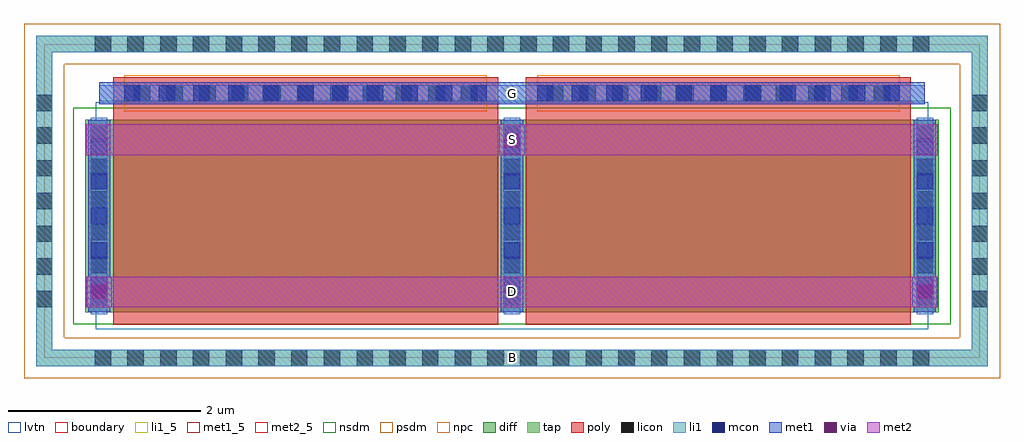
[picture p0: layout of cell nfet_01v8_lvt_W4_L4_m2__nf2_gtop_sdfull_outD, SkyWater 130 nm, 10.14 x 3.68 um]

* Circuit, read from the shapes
.subckt nfet_01v8_lvt_W4_L4_m2__nf2_gtop_sdfull_outD B D G S
XM1 S G D B sky130_fd_pr__nfet_01v8_lvt w=2 l=4 m=2
.ends

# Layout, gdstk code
import gdstk
lib = gdstk.Library(unit=1e-6, precision=1e-09)
def R(c, l, rs):  # rectangles x0, y0, x1, y1
    for r in rs: c.add(gdstk.rectangle(r[:2], r[2:], *l))
def A(c, l, x, y, w, h, nx, ny, dx, dy):  # array of equal rectangles
    R(c, l, [(x+i*dx, y+j*dy, x+i*dx+w, y+j*dy+h) for i in range(nx) for j in range(ny)])
diff = (65, 20)
tap = (65, 44)
poly = (66, 20)
licon = (66, 44)
li1_5 = (67, 5)
li1 = (67, 20)
mcon = (67, 44)
met1_5 = (68, 5)
met1 = (68, 20)
via = (68, 44)
met2_5 = (69, 5)
met2 = (69, 20)
nsdm = (93, 44)
psdm = (94, 20)
npc = (95, 20)
lvtn = (125, 44)
boundary = (235, 4)

sky130_fd_pr__nfet_01v8_ = lib.new_cell('sky130_fd_pr__nfet_01v8_lvt_W9TRKC')
R(sky130_fd_pr__nfet_01v8_, diff, [(-4.435,-1.155,4.435,0.845)])
R(sky130_fd_pr__nfet_01v8_, tap, [(-4.945,-1.715,4.945,-1.545), (-4.945,-1.545,-4.775,1.545), (4.775,-1.545,4.945,1.545), (-4.945,1.545,4.945,1.715)])
R(sky130_fd_pr__nfet_01v8_, poly, [(-4.145,-1.285,-0.145,1.285), (0.145,-1.285,4.145,1.285)])
A(sky130_fd_pr__nfet_01v8_, licon, -4.335, -1.715, 0.17, 0.17, 26, 2, 0.34, 3.26)
A(sky130_fd_pr__nfet_01v8_, licon, -4.945, -1.105, 0.17, 0.17, 1, 7, 0, 0.34)
A(sky130_fd_pr__nfet_01v8_, licon, 4.775, -1.105, 0.17, 0.17, 1, 7, 0, 0.34)
A(sky130_fd_pr__nfet_01v8_, licon, -4.375, -1.09, 0.17, 0.17, 3, 6, 4.29, 0.34)
A(sky130_fd_pr__nfet_01v8_, licon, -3.93, 1.035, 0.17, 0.17, 11, 1, 0.34, 0)
A(sky130_fd_pr__nfet_01v8_, licon, 0.36, 1.035, 0.17, 0.17, 11, 1, 0.34, 0)
A(sky130_fd_pr__nfet_01v8_, li1, -4.375, -1.175, 0.17, 2.04, 3, 1, 4.29, 0)
R(sky130_fd_pr__nfet_01v8_, li1, [(-4.945,-1.715,4.945,-1.545), (-4.945,-1.545,-4.775,1.545), (4.775,-1.545,4.945,1.545), (-4.29,1.035,4.29,1.205), (-4.945,1.545,4.945,1.715)])
A(sky130_fd_pr__nfet_01v8_, mcon, -4.375, -0.96, 0.17, 0.17, 3, 5, 4.29, 0.36)
A(sky130_fd_pr__nfet_01v8_, mcon, -4.03, 1.035, 0.17, 0.17, 11, 1, 0.36, 0)
A(sky130_fd_pr__nfet_01v8_, mcon, 0.26, 1.035, 0.17, 0.17, 11, 1, 0.36, 0)
A(sky130_fd_pr__nfet_01v8_, met1, -4.405, -1.155, 0.23, 2, 3, 1, 4.29, 0)
R(sky130_fd_pr__nfet_01v8_, met1, [(-4.125,1.005,-0.165,1.035), (0.165,1.005,4.125,1.035), (-4.29,1.035,4.29,1.205), (-4.125,1.205,-0.165,1.235), (0.165,1.205,4.125,1.235)])
R(sky130_fd_pr__nfet_01v8_, nsdm, [(-4.56,-1.28,4.56,0.97)])
R(sky130_fd_pr__nfet_01v8_, psdm, [(-5.07,-1.84,5.07,-1.42), (-5.07,-1.42,-4.65,1.42), (4.65,-1.42,5.07,1.42), (-5.07,1.42,5.07,1.84)])
R(sky130_fd_pr__nfet_01v8_, npc, [(-4.03,0.935,-0.26,1.305), (0.26,0.935,4.03,1.305)])
R(sky130_fd_pr__nfet_01v8_, lvtn, [(-4.325,-1.335,4.325,1.025)])
R(sky130_fd_pr__nfet_01v8_, boundary, [(-4.86,-1.63,4.86,1.63)])
sky130_fd_pr__nfet_01v8_.add(gdstk.Label('B', (0,-1.63), layer=67, texttype=5))
sky130_fd_pr__nfet_01v8_.add(gdstk.Label('D0', (-4.29,-0.155), layer=67, texttype=5))
sky130_fd_pr__nfet_01v8_.add(gdstk.Label('G', (2.145,1.12), layer=67, texttype=5))
sky130_fd_pr__nfet_01v8_.add(gdstk.Label('G', (-2.145,1.12), layer=67, texttype=5))
sky130_fd_pr__nfet_01v8_.add(gdstk.Label('S1', (0,-0.155), layer=67, texttype=5))

nfet_01v8_lvt_w4_l4_m2__ = lib.new_cell('nfet_01v8_lvt_W4_L4_m2__nf2_gtop_sdfull_outD')
R(nfet_01v8_lvt_w4_l4_m2__, li1_5, [(4.775,-0.085,4.945,0.085)])
R(nfet_01v8_lvt_w4_l4_m2__, li1, [(4.775,-0.085,4.945,0.085)])
R(nfet_01v8_lvt_w4_l4_m2__, met1_5, [(0.57,2.635,9.15,2.865)])
R(nfet_01v8_lvt_w4_l4_m2__, met1, [(0.44,0.525,0.7,0.845), (9.02,0.525,9.28,0.845), (4.73,2.105,4.99,2.425), (0.57,2.635,9.15,2.865)])
R(nfet_01v8_lvt_w4_l4_m2__, via, [(0.495,0.61,0.645,0.76), (9.075,0.61,9.225,0.76), (4.785,2.19,4.935,2.34)])
R(nfet_01v8_lvt_w4_l4_m2__, met2_5, [(0.435,0.525,9.285,0.845), (0.435,2.105,9.285,2.425)])
R(nfet_01v8_lvt_w4_l4_m2__, met2, [(0.435,0.525,9.285,0.845), (0.435,2.105,9.285,2.425)])
nfet_01v8_lvt_w4_l4_m2__.add(gdstk.Reference(sky130_fd_pr__nfet_01v8_, (4.86,1.63)))
nfet_01v8_lvt_w4_l4_m2__.add(gdstk.Label('S', (4.86,2.265), layer=69, texttype=5))
nfet_01v8_lvt_w4_l4_m2__.add(gdstk.Label('D', (4.86,0.685), layer=69, texttype=5))
nfet_01v8_lvt_w4_l4_m2__.add(gdstk.Label('G', (4.86,2.75), layer=68, texttype=5))
nfet_01v8_lvt_w4_l4_m2__.add(gdstk.Label('B', (4.86,0), layer=67, texttype=5))

lib.write_gds('nfet_01v8_lvt_W4_L4_m2__nf2_gtop_sdfull_outD.gds')
